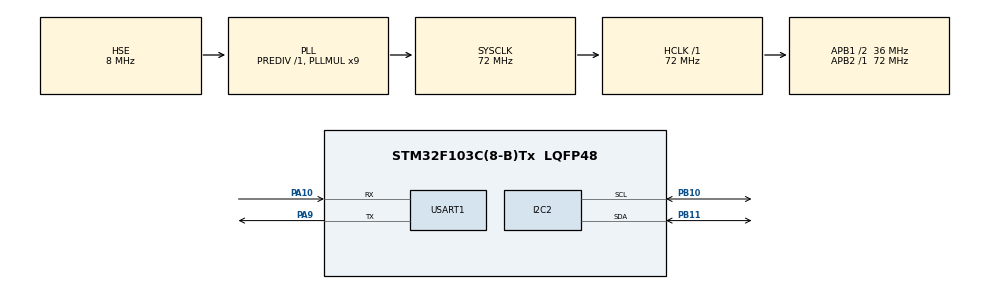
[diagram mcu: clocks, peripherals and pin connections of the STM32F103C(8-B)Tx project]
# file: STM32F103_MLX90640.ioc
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I2C2.I2C_Mode=I2C_Fast
Mcu.Family=STM32F1
Mcu.Name=STM32F103C(8-B)Tx
Mcu.Package=LQFP48
NVIC.PriorityGroup=NVIC_PRIORITYGROUP_4
PA10.Mode=Asynchronous
PA10.Signal=USART1_RX
PA13.Mode=Serial_Wire
PA13.Signal=SYS_JTMS-SWDIO
PA14.Mode=Serial_Wire
PA14.Signal=SYS_JTCK-SWCLK
PA9.Mode=Asynchronous
PA9.Signal=USART1_TX
PB10.Mode=I2C
PB10.Signal=I2C2_SCL
PB11.Mode=I2C
PB11.Signal=I2C2_SDA
PD0-OSC_IN.Mode=HSE-External-Oscillator
PD0-OSC_IN.Signal=RCC_OSC_IN
PD1-OSC_OUT.Mode=HSE-External-Oscillator
PD1-OSC_OUT.Signal=RCC_OSC_OUT
ProjectManager.HeapSize=0xE00
ProjectManager.StackSize=0xF00
ProjectManager.TargetToolchain=MDK-ARM V5.27
RCC.AHBFreq_Value=72000000
RCC.APB1CLKDivider=RCC_HCLK_DIV2
RCC.APB1Freq_Value=36000000
RCC.APB1TimFreq_Value=72000000
RCC.APB2Freq_Value=72000000
RCC.APB2TimFreq_Value=72000000
RCC.HCLKFreq_Value=72000000
RCC.PLLMUL=RCC_PLL_MUL9
RCC.PLLSourceVirtual=RCC_PLLSOURCE_HSE
RCC.SYSCLKFreq_VALUE=72000000
RCC.SYSCLKSource=RCC_SYSCLKSOURCE_PLLCLK
RCC.USBFreq_Value=72000000
USART1.VirtualMode=VM_ASYNC
board=custom

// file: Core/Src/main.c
/* USER CODE BEGIN Header */
/**
  ******************************************************************************
  * @file           : main.c
  * @brief          : Main program body
  ******************************************************************************
  * @attention
  *
  * <h2><center>&copy; Copyright (c) 2020 STMicroelectronics.
  * All rights reserved.</center></h2>
  *
  * This software component is licensed by ST under BSD 3-Clause license,
  * the "License"; You may not use this file except in compliance with the
  * License. You may obtain a copy of the License at:
  *                        opensource.org/licenses/BSD-3-Clause
  *
  ******************************************************************************
  */
/* USER CODE END Header */
#include "main.h"
#include "i2c.h"
#include "usart.h"
#include "gpio.h"

/* USER CODE BEGIN Includes */
#include <stdio.h>
#include "MLX90640_API.h"
#include "MLX90640_I2C_Driver.h"
/* USER CODE END Includes */

/* USER CODE BEGIN PTD */
#define  FPS2HZ   0x02
#define  FPS4HZ   0x03
#define  FPS8HZ   0x04
#define  FPS16HZ  0x05
#define  FPS32HZ  0x06

#define  MLX90640_ADDR 0x33
#define	 RefreshRate FPS16HZ
#define  TA_SHIFT 8 //Default shift for MLX90640 in open air

static uint16_t eeMLX90640[832];
static float mlx90640To[768];
uint16_t frame[834];
float emissivity=0.95;
int status;
/* USER CODE END PTD */

void SystemClock_Config(void);

int main(void)
{

  /* MCU Configuration--------------------------------------------------------*/

  /* Reset of all peripherals, Initializes the Flash interface and the Systick. */
  HAL_Init();

  /* Configure the system clock */
  SystemClock_Config();

  /* Initialize all configured peripherals */
  MX_GPIO_Init();
  MX_I2C2_Init();
  MX_USART1_UART_Init();
  /* USER CODE BEGIN 2 */

	MLX90640_SetRefreshRate(MLX90640_ADDR, RefreshRate);
	MLX90640_SetChessMode(MLX90640_ADDR);
	paramsMLX90640 mlx90640;
  status = MLX90640_DumpEE(MLX90640_ADDR, eeMLX90640);
  if (status != 0) printf("\r\nload system parameters error with code:%d\r\n",status);
  status = MLX90640_ExtractParameters(eeMLX90640, &mlx90640);
  if (status != 0) printf("\r\nParameter extraction failed with error code:%d\r\n",status);

  /* USER CODE END 2 */

  /* Infinite loop */
  while (1)
  {

  }
}

void SystemClock_Config(void)
{
  RCC_OscInitTypeDef RCC_OscInitStruct = {0};
  RCC_ClkInitTypeDef RCC_ClkInitStruct = {0};

  /** Initializes the RCC Oscillators according to the specified parameters
  * in the RCC_OscInitTypeDef structure.
  */
  RCC_OscInitStruct.OscillatorType = RCC_OSCILLATORTYPE_HSE;
  RCC_OscInitStruct.HSEState = RCC_HSE_ON;
  RCC_OscInitStruct.HSEPredivValue = RCC_HSE_PREDIV_DIV1;
  RCC_OscInitStruct.HSIState = RCC_HSI_ON;
  RCC_OscInitStruct.PLL.PLLState = RCC_PLL_ON;
  RCC_OscInitStruct.PLL.PLLSource = RCC_PLLSOURCE_HSE;
  RCC_OscInitStruct.PLL.PLLMUL = RCC_PLL_MUL9;
  if (HAL_RCC_OscConfig(&RCC_OscInitStruct) != HAL_OK)
  {
    Error_Handler();
  }
  /** Initializes the CPU, AHB and APB buses clocks
  */
  RCC_ClkInitStruct.ClockType = RCC_CLOCKTYPE_HCLK|RCC_CLOCKTYPE_SYSCLK
                              |RCC_CLOCKTYPE_PCLK1|RCC_CLOCKTYPE_PCLK2;
  RCC_ClkInitStruct.SYSCLKSource = RCC_SYSCLKSOURCE_PLLCLK;
  RCC_ClkInitStruct.AHBCLKDivider = RCC_SYSCLK_DIV1;
  RCC_ClkInitStruct.APB1CLKDivider = RCC_HCLK_DIV2;
  RCC_ClkInitStruct.APB2CLKDivider = RCC_HCLK_DIV1;

  if (HAL_RCC_ClockConfig(&RCC_ClkInitStruct, FLASH_LATENCY_2) != HAL_OK)
  {
    Error_Handler();
  }
}

void Error_Handler(void)
{
}

/************************ (C) COPYRIGHT STMicroelectronics *****END OF FILE****/
